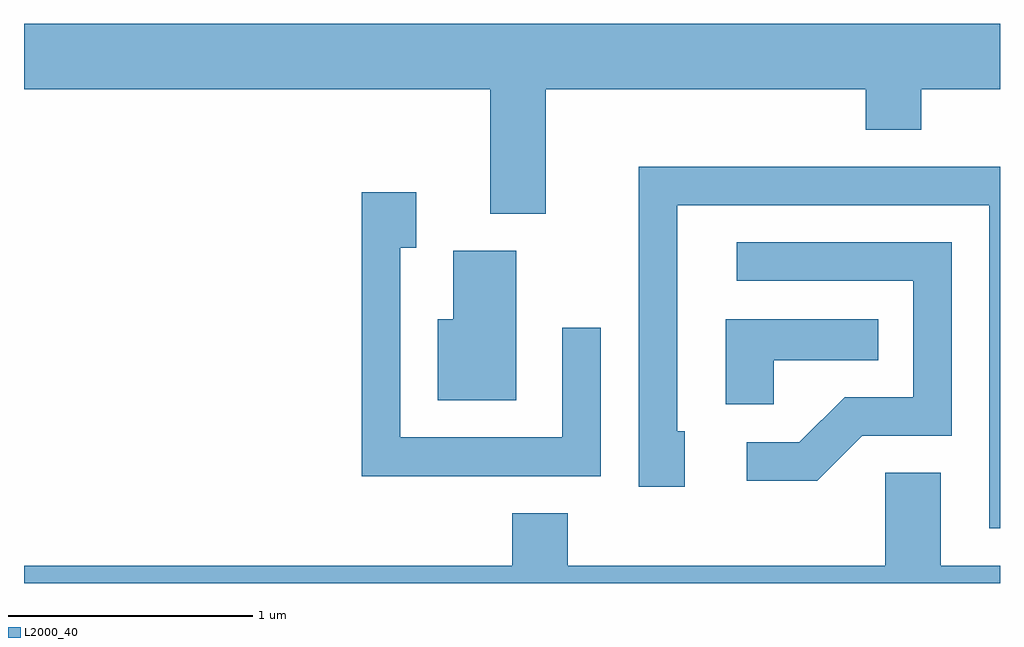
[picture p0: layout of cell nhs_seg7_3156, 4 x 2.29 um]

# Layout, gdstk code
import gdstk
lib = gdstk.Library(unit=1e-6, precision=1e-09)
def P(c, l, *ps):  # polygons
    for p in ps: c.add(gdstk.Polygon(p, *l))
L2000_40 = (2000, 40)

nhs_seg7_3156 = lib.new_cell('nhs_seg7_3156')
P(nhs_seg7_3156, L2000_40, [(283.749,1754.276),(285.061,1754.276),(285.061,1754.111),(285.289,1754.111),(285.289,1754.276),(285.611,1754.276),(285.611,1754.544),(281.611,1754.544),(281.611,1754.276),(283.521,1754.276),(283.521,1753.766),(283.749,1753.766)],
  [(285.611,1753.959),(284.131,1753.959),(284.131,1752.646),(284.319,1752.646),(284.319,1752.874),(284.289,1752.874),(284.289,1753.801),(285.566,1753.801),(285.566,1752.476),(285.611,1752.476)],
  [(283.974,1753.298),(283.816,1753.298),(283.816,1752.849),(283.154,1752.849),(283.154,1753.626),(283.219,1753.626),(283.219,1753.854),(282.996,1753.854),(282.996,1752.691),(283.974,1752.691)],
  [(285.047,1752.856),(285.414,1752.856),(285.414,1753.649),(284.533,1753.649),(284.533,1753.491),(285.256,1753.491),(285.256,1753.014),(284.974,1753.014),(284.789,1752.829),(284.573,1752.829),(284.573,1752.671),(284.862,1752.671)],
  [(283.629,1753.614),(283.371,1753.614),(283.371,1753.334),(283.306,1753.334),(283.306,1753.001),(283.629,1753.001)],
  [(284.684,1753.166),(285.113,1753.166),(285.113,1753.334),(284.486,1753.334),(284.486,1752.986),(284.684,1752.986)],
  [(285.611,1752.324),(285.369,1752.324),(285.369,1752.704),(285.141,1752.704),(285.141,1752.324),(283.839,1752.324),(283.839,1752.539),(283.611,1752.539),(283.611,1752.324),(281.611,1752.324),(281.611,1752.252),(285.611,1752.252)])

lib.write_gds('nhs_seg7_3156.gds')
